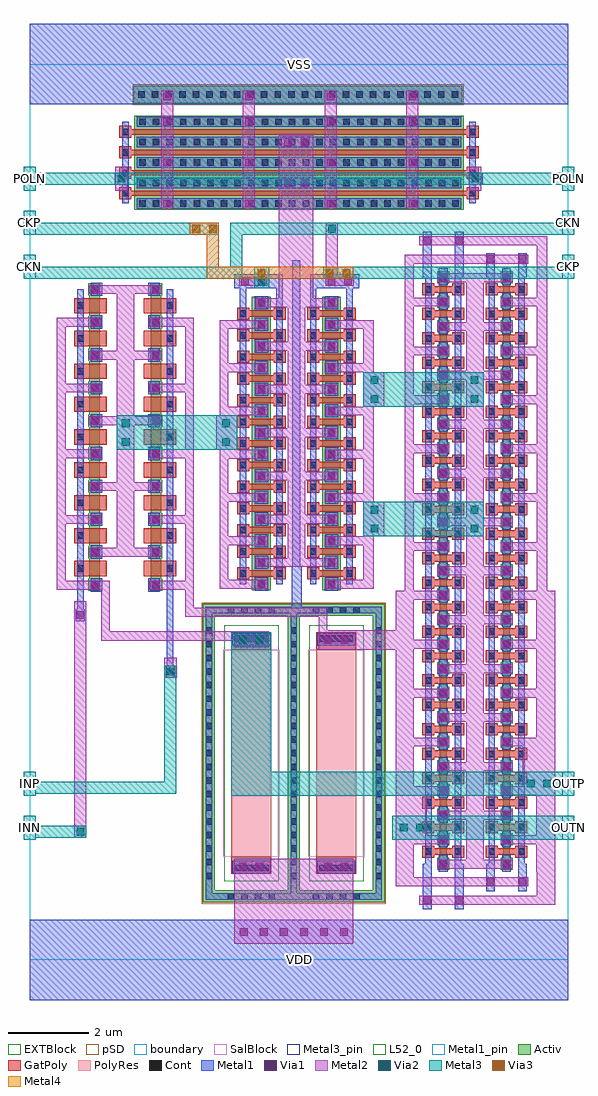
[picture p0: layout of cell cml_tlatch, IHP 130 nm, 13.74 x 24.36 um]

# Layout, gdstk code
from math import pi, radians
import gdstk
lib = gdstk.Library(unit=1e-6, precision=1e-09)
def R(c, l, rs):  # rectangles x0, y0, x1, y1
    for r in rs: c.add(gdstk.rectangle(r[:2], r[2:], *l))
def A(c, l, x, y, w, h, nx, ny, dx, dy):  # array of equal rectangles
    R(c, l, [(x+i*dx, y+j*dy, x+i*dx+w, y+j*dy+h) for i in range(nx) for j in range(ny)])
Activ = (1, 0)
GatPoly = (5, 0)
Cont = (6, 0)
Metal1 = (8, 0)
Metal1_pin = (8, 2)
Metal2 = (10, 0)
pSD = (14, 0)
Via1 = (19, 0)
SalBlock = (28, 0)
Via2 = (29, 0)
Metal3 = (30, 0)
Metal3_pin = (30, 2)
Via3 = (49, 0)
Metal4 = (50, 0)
L52_0 = (52, 0)
EXTBlock = (111, 0)
PolyRes = (128, 0)
boundary = (189, 4)

sg13_lv_nmos_ad63gd = lib.new_cell('sg13_lv_nmos_AD63GD')
A(sg13_lv_nmos_ad63gd, Activ, -3.84, -0.055, 0.3, 0.02, 10, 2, 0.82, 0.28)
R(sg13_lv_nmos_ad63gd, Activ, [(-3.84,-0.035,3.84,0.225)])
A(sg13_lv_nmos_ad63gd, GatPoly, -3.47, -0.405, 0.38, 0.81, 9, 1, 0.82, 0)
A(sg13_lv_nmos_ad63gd, Cont, -3.36, -0.335, 0.16, 0.16, 9, 1, 0.82, 0)
A(sg13_lv_nmos_ad63gd, Cont, -3.77, 0.015, 0.16, 0.16, 10, 1, 0.82, 0)
A(sg13_lv_nmos_ad63gd, Metal1, -3.82, 0.015, 0.26, 0.16, 10, 1, 0.82, 0)
R(sg13_lv_nmos_ad63gd, Metal1, [(-3.69,-0.335,3.69,-0.175)])
sg13_lv_nmos_ad63gd.add(gdstk.Label('G', (3.28,-0.255), layer=8, texttype=25))
sg13_lv_nmos_ad63gd.add(gdstk.Label('G', (2.46,-0.255), layer=8, texttype=25))
sg13_lv_nmos_ad63gd.add(gdstk.Label('G', (1.64,-0.255), layer=8, texttype=25))
sg13_lv_nmos_ad63gd.add(gdstk.Label('G', (0.82,-0.255), layer=8, texttype=25))
sg13_lv_nmos_ad63gd.add(gdstk.Label('G', (0,-0.255), layer=8, texttype=25))
sg13_lv_nmos_ad63gd.add(gdstk.Label('G', (-0.82,-0.255), layer=8, texttype=25))
sg13_lv_nmos_ad63gd.add(gdstk.Label('G', (-1.64,-0.255), layer=8, texttype=25))
sg13_lv_nmos_ad63gd.add(gdstk.Label('G', (-2.46,-0.255), layer=8, texttype=25))
sg13_lv_nmos_ad63gd.add(gdstk.Label('G', (-3.28,-0.255), layer=8, texttype=25))
sg13_lv_nmos_ad63gd.add(gdstk.Label('D0', (-3.69,0.095), layer=8, texttype=25))
sg13_lv_nmos_ad63gd.add(gdstk.Label('S1', (-2.87,0.095), layer=8, texttype=25))
sg13_lv_nmos_ad63gd.add(gdstk.Label('D2', (-2.05,0.095), layer=8, texttype=25))
sg13_lv_nmos_ad63gd.add(gdstk.Label('S3', (-1.23,0.095), layer=8, texttype=25))
sg13_lv_nmos_ad63gd.add(gdstk.Label('D4', (-0.41,0.095), layer=8, texttype=25))
sg13_lv_nmos_ad63gd.add(gdstk.Label('S5', (0.41,0.095), layer=8, texttype=25))
sg13_lv_nmos_ad63gd.add(gdstk.Label('D6', (1.23,0.095), layer=8, texttype=25))
sg13_lv_nmos_ad63gd.add(gdstk.Label('S7', (2.05,0.095), layer=8, texttype=25))
sg13_lv_nmos_ad63gd.add(gdstk.Label('D8', (2.87,0.095), layer=8, texttype=25))
sg13_lv_nmos_ad63gd.add(gdstk.Label('S8', (3.69,0.095), layer=8, texttype=25))

rppd_6k5nnh = lib.new_cell('rppd_6K5NNH')
R(rppd_6k5nnh, Activ, [(-1.21,-3.725,1.21,-3.425), (-1.21,-3.425,-0.91,3.425), (0.91,-3.425,1.21,3.425), (-1.21,3.425,1.21,3.725)])
R(rppd_6k5nnh, GatPoly, [(-0.5,-3.015,0.5,-2.585), (-0.5,2.585,0.5,3.015)])
A(rppd_6k5nnh, Cont, -0.59, -3.655, 0.16, 0.16, 4, 2, 0.34, 7.15)
A(rppd_6k5nnh, Cont, -1.14, -3.14, 0.16, 0.16, 1, 19, 0, 0.34)
A(rppd_6k5nnh, Cont, 0.98, -3.14, 0.16, 0.16, 1, 19, 0, 0.34)
R(rppd_6k5nnh, Cont, [(-0.43,-2.945,0.43,-2.785), (-0.43,2.785,0.43,2.945)])
R(rppd_6k5nnh, Metal1, [(-1.14,-3.655,1.14,-3.495), (-1.14,-3.495,-0.98,3.495), (0.98,-3.495,1.14,3.495), (-0.48,-2.995,0.48,-2.68), (-0.48,2.68,0.48,2.995), (-1.14,3.495,1.14,3.655)])
R(rppd_6k5nnh, Metal2, [(-0.43,-3.01,0.43,-2.64), (-0.43,2.64,0.43,3.01)])
R(rppd_6k5nnh, pSD, [(-1.24,-3.755,1.24,3.755)])
R(rppd_6k5nnh, Via1, [(-0.3,-2.92,-0.11,-2.73), (0.11,-2.92,0.3,-2.73), (-0.3,2.73,-0.11,2.92), (0.11,2.73,0.3,2.92)])
R(rppd_6k5nnh, SalBlock, [(-0.7,-2.585,0.7,2.585)])
R(rppd_6k5nnh, L52_0, [(-0.5,-2.585,0.5,2.585)])
R(rppd_6k5nnh, EXTBlock, [(-0.68,-3.195,0.68,3.195)])
R(rppd_6k5nnh, PolyRes, [(-0.5,-2.585,0.5,2.585)])
R(rppd_6k5nnh, boundary, [(-1.06,-3.575,1.06,3.575)])
rppd_6k5nnh.add(gdstk.Label('B', (0,-3.575), layer=8, texttype=25))
rppd_6k5nnh.add(gdstk.Label('R1', (0,2.865), layer=8, texttype=25))
rppd_6k5nnh.add(gdstk.Label('R2', (0,-2.865), layer=8, texttype=25))

sg13_lv_nmos_kukxb4 = lib.new_cell('sg13_lv_nmos_KUKXB4')
A(sg13_lv_nmos_kukxb4, Activ, -7.47, -0.15, 0.3, 0.065, 25, 2, 0.61, 0.235)
R(sg13_lv_nmos_kukxb4, Activ, [(-7.47,-0.085,7.47,0.085)])
A(sg13_lv_nmos_kukxb4, GatPoly, -7.165, -0.52, 0.3, 0.3, 24, 2, 0.61, 0.74)
A(sg13_lv_nmos_kukxb4, GatPoly, -7.1, -0.22, 0.17, 0.44, 24, 1, 0.61, 0)
A(sg13_lv_nmos_kukxb4, Cont, -7.095, -0.45, 0.16, 0.16, 24, 2, 0.61, 0.74)
A(sg13_lv_nmos_kukxb4, Cont, -7.4, -0.08, 0.16, 0.16, 25, 1, 0.61, 0)
A(sg13_lv_nmos_kukxb4, Metal1, -7.45, -0.08, 0.26, 0.16, 25, 1, 0.61, 0)
R(sg13_lv_nmos_kukxb4, Metal1, [(-7.32,-0.45,7.32,-0.29), (-7.32,0.29,7.32,0.45)])
sg13_lv_nmos_kukxb4.add(gdstk.Label('G', (7.015,0.37), layer=8, texttype=25))
sg13_lv_nmos_kukxb4.add(gdstk.Label('G', (6.405,0.37), layer=8, texttype=25))
sg13_lv_nmos_kukxb4.add(gdstk.Label('G', (5.795,0.37), layer=8, texttype=25))
sg13_lv_nmos_kukxb4.add(gdstk.Label('G', (5.185,0.37), layer=8, texttype=25))
sg13_lv_nmos_kukxb4.add(gdstk.Label('G', (4.575,0.37), layer=8, texttype=25))
sg13_lv_nmos_kukxb4.add(gdstk.Label('G', (3.965,0.37), layer=8, texttype=25))
sg13_lv_nmos_kukxb4.add(gdstk.Label('G', (3.355,0.37), layer=8, texttype=25))
sg13_lv_nmos_kukxb4.add(gdstk.Label('G', (2.745,0.37), layer=8, texttype=25))
sg13_lv_nmos_kukxb4.add(gdstk.Label('G', (2.135,0.37), layer=8, texttype=25))
sg13_lv_nmos_kukxb4.add(gdstk.Label('G', (1.525,0.37), layer=8, texttype=25))
sg13_lv_nmos_kukxb4.add(gdstk.Label('G', (0.915,0.37), layer=8, texttype=25))
sg13_lv_nmos_kukxb4.add(gdstk.Label('G', (0.305,0.37), layer=8, texttype=25))
sg13_lv_nmos_kukxb4.add(gdstk.Label('G', (-0.305,0.37), layer=8, texttype=25))
sg13_lv_nmos_kukxb4.add(gdstk.Label('G', (-0.915,0.37), layer=8, texttype=25))
sg13_lv_nmos_kukxb4.add(gdstk.Label('G', (-1.525,0.37), layer=8, texttype=25))
sg13_lv_nmos_kukxb4.add(gdstk.Label('G', (-2.135,0.37), layer=8, texttype=25))
sg13_lv_nmos_kukxb4.add(gdstk.Label('G', (-2.745,0.37), layer=8, texttype=25))
sg13_lv_nmos_kukxb4.add(gdstk.Label('G', (-3.355,0.37), layer=8, texttype=25))
sg13_lv_nmos_kukxb4.add(gdstk.Label('G', (-3.965,0.37), layer=8, texttype=25))
sg13_lv_nmos_kukxb4.add(gdstk.Label('G', (-4.575,0.37), layer=8, texttype=25))
sg13_lv_nmos_kukxb4.add(gdstk.Label('G', (-5.185,0.37), layer=8, texttype=25))
sg13_lv_nmos_kukxb4.add(gdstk.Label('G', (-5.795,0.37), layer=8, texttype=25))
sg13_lv_nmos_kukxb4.add(gdstk.Label('G', (-6.405,0.37), layer=8, texttype=25))
sg13_lv_nmos_kukxb4.add(gdstk.Label('G', (-7.015,0.37), layer=8, texttype=25))
sg13_lv_nmos_kukxb4.add(gdstk.Label('D0', (-7.32,0), layer=8, texttype=25))
sg13_lv_nmos_kukxb4.add(gdstk.Label('S1', (-6.71,0), layer=8, texttype=25))
sg13_lv_nmos_kukxb4.add(gdstk.Label('D2', (-6.1,0), layer=8, texttype=25))
sg13_lv_nmos_kukxb4.add(gdstk.Label('S3', (-5.49,0), layer=8, texttype=25))
sg13_lv_nmos_kukxb4.add(gdstk.Label('D4', (-4.88,0), layer=8, texttype=25))
sg13_lv_nmos_kukxb4.add(gdstk.Label('S5', (-4.27,0), layer=8, texttype=25))
sg13_lv_nmos_kukxb4.add(gdstk.Label('D6', (-3.66,0), layer=8, texttype=25))
sg13_lv_nmos_kukxb4.add(gdstk.Label('S7', (-3.05,0), layer=8, texttype=25))
sg13_lv_nmos_kukxb4.add(gdstk.Label('D8', (-2.44,0), layer=8, texttype=25))
sg13_lv_nmos_kukxb4.add(gdstk.Label('S9', (-1.83,0), layer=8, texttype=25))
sg13_lv_nmos_kukxb4.add(gdstk.Label('D10', (-1.22,0), layer=8, texttype=25))
sg13_lv_nmos_kukxb4.add(gdstk.Label('S11', (-0.61,0), layer=8, texttype=25))
sg13_lv_nmos_kukxb4.add(gdstk.Label('D12', (0,0), layer=8, texttype=25))
sg13_lv_nmos_kukxb4.add(gdstk.Label('S13', (0.61,0), layer=8, texttype=25))
sg13_lv_nmos_kukxb4.add(gdstk.Label('D14', (1.22,0), layer=8, texttype=25))
sg13_lv_nmos_kukxb4.add(gdstk.Label('S15', (1.83,0), layer=8, texttype=25))
sg13_lv_nmos_kukxb4.add(gdstk.Label('D16', (2.44,0), layer=8, texttype=25))
sg13_lv_nmos_kukxb4.add(gdstk.Label('S17', (3.05,0), layer=8, texttype=25))
sg13_lv_nmos_kukxb4.add(gdstk.Label('D18', (3.66,0), layer=8, texttype=25))
sg13_lv_nmos_kukxb4.add(gdstk.Label('S19', (4.27,0), layer=8, texttype=25))
sg13_lv_nmos_kukxb4.add(gdstk.Label('D20', (4.88,0), layer=8, texttype=25))
sg13_lv_nmos_kukxb4.add(gdstk.Label('S21', (5.49,0), layer=8, texttype=25))
sg13_lv_nmos_kukxb4.add(gdstk.Label('D22', (6.1,0), layer=8, texttype=25))
sg13_lv_nmos_kukxb4.add(gdstk.Label('S23', (6.71,0), layer=8, texttype=25))

sg13_lv_nmos_72nhqf = lib.new_cell('sg13_lv_nmos_72NHQF')
R(sg13_lv_nmos_72nhqf, Activ, [(-3.66,-0.235,3.66,0.235)])
A(sg13_lv_nmos_72nhqf, GatPoly, -3.39, -0.605, 0.3, 0.3, 13, 2, 0.54, 0.91)
A(sg13_lv_nmos_72nhqf, GatPoly, -3.32, -0.305, 0.16, 0.61, 13, 1, 0.54, 0)
A(sg13_lv_nmos_72nhqf, Cont, -3.32, -0.535, 0.16, 0.16, 13, 2, 0.54, 0.91)
A(sg13_lv_nmos_72nhqf, Cont, -3.59, -0.08, 0.16, 0.16, 14, 1, 0.54, 0)
A(sg13_lv_nmos_72nhqf, Metal1, -3.64, -0.165, 0.26, 0.33, 14, 1, 0.54, 0)
R(sg13_lv_nmos_72nhqf, Metal1, [(-3.51,-0.535,3.51,-0.375), (-3.51,0.375,3.51,0.535)])
sg13_lv_nmos_72nhqf.add(gdstk.Label('G', (3.24,0.455), layer=8, texttype=25))
sg13_lv_nmos_72nhqf.add(gdstk.Label('G', (2.7,0.455), layer=8, texttype=25))
sg13_lv_nmos_72nhqf.add(gdstk.Label('G', (2.16,0.455), layer=8, texttype=25))
sg13_lv_nmos_72nhqf.add(gdstk.Label('G', (1.62,0.455), layer=8, texttype=25))
sg13_lv_nmos_72nhqf.add(gdstk.Label('G', (1.08,0.455), layer=8, texttype=25))
sg13_lv_nmos_72nhqf.add(gdstk.Label('G', (0.54,0.455), layer=8, texttype=25))
sg13_lv_nmos_72nhqf.add(gdstk.Label('G', (0,0.455), layer=8, texttype=25))
sg13_lv_nmos_72nhqf.add(gdstk.Label('G', (-0.54,0.455), layer=8, texttype=25))
sg13_lv_nmos_72nhqf.add(gdstk.Label('G', (-1.08,0.455), layer=8, texttype=25))
sg13_lv_nmos_72nhqf.add(gdstk.Label('G', (-1.62,0.455), layer=8, texttype=25))
sg13_lv_nmos_72nhqf.add(gdstk.Label('G', (-2.16,0.455), layer=8, texttype=25))
sg13_lv_nmos_72nhqf.add(gdstk.Label('G', (-2.7,0.455), layer=8, texttype=25))
sg13_lv_nmos_72nhqf.add(gdstk.Label('G', (-3.24,0.455), layer=8, texttype=25))
sg13_lv_nmos_72nhqf.add(gdstk.Label('D0', (-3.51,0), layer=8, texttype=25))
sg13_lv_nmos_72nhqf.add(gdstk.Label('S1', (-2.97,0), layer=8, texttype=25))
sg13_lv_nmos_72nhqf.add(gdstk.Label('D2', (-2.43,0), layer=8, texttype=25))
sg13_lv_nmos_72nhqf.add(gdstk.Label('S3', (-1.89,0), layer=8, texttype=25))
sg13_lv_nmos_72nhqf.add(gdstk.Label('D4', (-1.35,0), layer=8, texttype=25))
sg13_lv_nmos_72nhqf.add(gdstk.Label('S5', (-0.81,0), layer=8, texttype=25))
sg13_lv_nmos_72nhqf.add(gdstk.Label('D6', (-0.27,0), layer=8, texttype=25))
sg13_lv_nmos_72nhqf.add(gdstk.Label('S7', (0.27,0), layer=8, texttype=25))
sg13_lv_nmos_72nhqf.add(gdstk.Label('D8', (0.81,0), layer=8, texttype=25))
sg13_lv_nmos_72nhqf.add(gdstk.Label('S9', (1.35,0), layer=8, texttype=25))
sg13_lv_nmos_72nhqf.add(gdstk.Label('D10', (1.89,0), layer=8, texttype=25))
sg13_lv_nmos_72nhqf.add(gdstk.Label('S11', (2.43,0), layer=8, texttype=25))
sg13_lv_nmos_72nhqf.add(gdstk.Label('D12', (2.97,0), layer=8, texttype=25))
sg13_lv_nmos_72nhqf.add(gdstk.Label('S12', (3.51,0), layer=8, texttype=25))

sg13_lv_nmos_98sv2z = lib.new_cell('sg13_lv_nmos_98SV2Z')
R(sg13_lv_nmos_98sv2z, Activ, [(-1.17,-4.115,1.17,4.115)])
A(sg13_lv_nmos_98sv2z, GatPoly, -0.915, -4.485, 0.3, 0.3, 4, 2, 0.51, 8.67)
A(sg13_lv_nmos_98sv2z, GatPoly, -0.83, -4.185, 0.13, 8.37, 4, 1, 0.51, 0)
A(sg13_lv_nmos_98sv2z, Cont, -0.845, -4.415, 0.16, 0.16, 4, 2, 0.51, 8.67)
A(sg13_lv_nmos_98sv2z, Cont, -1.1, -3.99, 0.16, 0.16, 5, 24, 0.51, 0.34)
A(sg13_lv_nmos_98sv2z, Metal1, -1.15, -4.045, 0.26, 8.09, 5, 1, 0.51, 0)
R(sg13_lv_nmos_98sv2z, Metal1, [(-1.02,-4.415,1.02,-4.255), (-1.02,4.255,1.02,4.415)])
sg13_lv_nmos_98sv2z.add(gdstk.Label('D0', (-1.02,0), layer=8, texttype=25))
sg13_lv_nmos_98sv2z.add(gdstk.Label('G', (0.765,4.335), layer=8, texttype=25))
sg13_lv_nmos_98sv2z.add(gdstk.Label('G', (0.255,4.335), layer=8, texttype=25))
sg13_lv_nmos_98sv2z.add(gdstk.Label('G', (-0.255,4.335), layer=8, texttype=25))
sg13_lv_nmos_98sv2z.add(gdstk.Label('G', (-0.765,4.335), layer=8, texttype=25))
sg13_lv_nmos_98sv2z.add(gdstk.Label('S1', (-0.51,0), layer=8, texttype=25))
sg13_lv_nmos_98sv2z.add(gdstk.Label('D2', (0,0), layer=8, texttype=25))
sg13_lv_nmos_98sv2z.add(gdstk.Label('S3', (0.51,0), layer=8, texttype=25))

cml_tlatch = lib.new_cell('cml_tlatch')
R(cml_tlatch, Activ, [(12.2,21.38,20.4,21.82)])
A(cml_tlatch, Cont, 12.31, 21.52, 0.16, 0.16, 24, 1, 0.34, 0)
A(cml_tlatch, Metal1, 19.81, 2.2, 0.22, 0.42, 1, 25, 0, 0.61)
A(cml_tlatch, Metal1, 21.39, 2.2, 0.22, 0.42, 1, 25, 0, 0.61)
A(cml_tlatch, Metal1, 11.125, 9.195, 0.29, 0.33, 1, 10, 0, 0.82)
A(cml_tlatch, Metal1, 12.555, 9.195, 0.29, 0.33, 1, 10, 0, 0.82)
A(cml_tlatch, Metal1, 15.22, 9.22, 0.33, 0.33, 1, 14, 0, 0.54)
A(cml_tlatch, Metal1, 16.97, 9.22, 0.33, 0.33, 1, 14, 0, 0.54)
A(cml_tlatch, Metal1, 12.93, 18.78, 0.2, 0.2, 4, 3, 2.04, 1.02)
R(cml_tlatch, Metal1, [(9.6,-1,23.04,1), (19.41,1.26,19.63,2.4), (20.21,1.26,20.43,2.4), (20.99,1.72,21.21,2.4), (21.79,1.72,22.01,2.4), (12.995,7.045,13.225,7.345), (13.025,7.345,13.185,9.36), (10.745,8.455,10.975,8.755), (10.785,8.755,10.945,9.405), (16.135,8.815,16.385,9.81), (16.155,9.81,16.355,17.46), (14.845,16.4,15.005,16.76), (15.755,16.4,15.915,16.76), (16.595,16.4,16.755,16.76), (17.505,16.4,17.665,16.76), (14.7,16.76,15.915,17.12), (16.595,16.76,17.82,17.12), (19.41,17.04,19.63,18.18), (20.21,17.04,20.43,18.18), (20.99,17.04,21.21,17.635), (21.79,17.04,22.01,17.635), (15.9,19.29,16.6,19.49), (11.72,19.35,12.065,19.65), (20.555,19.35,20.9,19.65), (15.9,20.31,16.6,20.51), (9.6,21.36,23.04,23.36)])
R(cml_tlatch, Metal1_pin, [(9.6,-1,23.04,1), (9.6,21.36,23.04,23.36)])
A(cml_tlatch, Metal2, 19.77, 2.28, 1.88, 0.22, 1, 13, 0, 1.22)
A(cml_tlatch, Metal2, 20.49, 2.5, 0.44, 1, 1, 12, 0, 1.22)
A(cml_tlatch, Metal2, 18.74, 2.89, 1.33, 0.22, 1, 4, 0, 1.22)
A(cml_tlatch, Metal2, 21.35, 2.89, 1.365, 0.22, 1, 6, 0, 1.22)
A(cml_tlatch, Metal2, 22.24, 5.55, 0.475, 1, 1, 3, 0, 1.22)
A(cml_tlatch, Metal2, 18.96, 9.21, 0.22, 1, 1, 6, 0, 1.22)
A(cml_tlatch, Metal2, 22.26, 9.21, 0.25, 1, 1, 6, 0, 1.22)
A(cml_tlatch, Metal2, 12.585, 9.245, 1.11, 0.22, 1, 5, 0, 1.64)
A(cml_tlatch, Metal2, 14.34, 9.27, 1.2, 0.22, 1, 7, 0, 1.08)
A(cml_tlatch, Metal2, 16.99, 9.27, 1.19, 0.22, 1, 7, 0, 1.08)
A(cml_tlatch, Metal2, 10.275, 9.465, 0.22, 1.42, 1, 4, 0, 1.64)
A(cml_tlatch, Metal2, 13.475, 9.465, 0.22, 1.42, 1, 4, 0, 1.64)
A(cml_tlatch, Metal2, 14.34, 9.49, 0.22, 0.86, 1, 3, 0, 1.08)
A(cml_tlatch, Metal2, 15.24, 9.81, 2.05, 0.22, 1, 7, 0, 1.08)
A(cml_tlatch, Metal2, 16.04, 10.03, 0.44, 0.86, 1, 6, 0, 1.08)
A(cml_tlatch, Metal2, 11.085, 10.065, 1.8, 0.22, 1, 5, 0, 1.64)
A(cml_tlatch, Metal2, 18.96, 10.21, 1.11, 0.22, 1, 6, 0, 1.22)
A(cml_tlatch, Metal2, 21.35, 10.21, 1.16, 0.22, 1, 6, 0, 1.22)
A(cml_tlatch, Metal2, 11.765, 10.285, 0.44, 1.42, 1, 4, 0, 1.64)
A(cml_tlatch, Metal2, 10.275, 10.885, 1.11, 0.22, 1, 4, 0, 1.64)
A(cml_tlatch, Metal2, 12.88, 18.75, 0.3, 2.95, 4, 1, 2.04, 0)
R(cml_tlatch, Metal2, [(14.7,0.4,17.68,2.52), (19.32,1.38,22.715,1.6), (22.26,1.6,22.715,2.2), (18.74,1.84,22.045,2.06), (18.74,2.06,19.18,2.89), (22.24,2.2,22.715,2.89), (10.705,3.05,11.015,8.955), (18.74,3.11,19.51,4.11), (22.24,3.11,22.715,4.11), (18.74,4.33,19.18,5.33), (21.9,4.33,22.715,5.33), (18.74,5.55,19.18,6.55), (18.74,6.77,19.18,7.745), (12.955,7.045,13.265,7.545), (16.81,7.745,19.18,7.77), (16.81,7.77,20.07,7.99), (14.825,7.885,15.435,7.97), (11.38,7.97,15.56,8.2), (16.81,7.99,19.18,8.23), (11.38,8.2,11.6,9.245), (16.81,8.23,17.03,8.56), (18.74,8.23,19.18,8.99), (13.475,8.56,17.03,8.79), (13.475,8.79,13.695,9.245), (18.74,8.99,20.07,9.21), (10.275,9.245,11.6,9.465), (17.92,9.49,18.18,10.35), (17.92,10.57,18.45,11.43), (17.92,11.65,18.18,12.51), (14.25,12.73,14.78,13.59), (17.92,12.73,18.18,13.59), (14.34,13.81,14.56,14.67), (17.92,13.81,18.45,14.67), (14.34,14.89,14.56,15.75), (17.92,14.89,18.18,15.75), (15.82,16.51,16.68,20.6), (18.96,16.53,19.18,17.38), (22.26,16.53,22.51,17.84), (14.83,16.83,15.53,17.05), (16.99,16.83,17.69,17.05), (16.99,17.05,17.29,18.4), (18.96,17.38,22.045,17.6), (19.32,17.84,22.51,18.06), (11.74,19.2,12.04,19.8), (20.575,19.2,20.875,19.8)])
R(cml_tlatch, pSD, [(12.17,21.35,20.43,21.85)])
A(cml_tlatch, Via1, 14.845, 0.6, 0.19, 0.19, 6, 1, 0.5, 0)
A(cml_tlatch, Via1, 19.825, 2.295, 0.19, 0.19, 1, 25, 0, 0.61)
A(cml_tlatch, Via1, 21.405, 2.295, 0.19, 0.19, 1, 25, 0, 0.61)
A(cml_tlatch, Via1, 11.14, 9.26, 0.19, 0.19, 1, 10, 0, 0.82)
A(cml_tlatch, Via1, 12.64, 9.26, 0.19, 0.19, 1, 10, 0, 0.82)
A(cml_tlatch, Via1, 15.29, 9.285, 0.19, 0.19, 1, 15, 0, 0.54)
A(cml_tlatch, Via1, 17.04, 9.285, 0.19, 0.19, 1, 15, 0, 0.54)
A(cml_tlatch, Via1, 12.935, 18.785, 0.19, 0.19, 4, 3, 2.04, 1.02)
A(cml_tlatch, Via1, 12.935, 21.455, 0.19, 0.19, 4, 1, 2.04, 0)
R(cml_tlatch, Via1, [(19.425,1.395,19.615,1.585), (20.225,1.395,20.415,1.585), (21.005,1.855,21.195,2.045), (21.805,1.855,21.995,2.045), (13.01,7.1,13.2,7.29), (10.77,8.51,10.96,8.7), (14.88,16.845,15.07,17.035), (17.45,16.845,17.64,17.035), (21.005,17.395,21.195,17.585), (21.805,17.395,21.995,17.585), (19.425,17.855,19.615,18.045), (20.225,17.855,20.415,18.045), (15.95,19.295,16.14,19.485), (16.36,19.295,16.55,19.485), (11.795,19.405,11.985,19.595), (20.63,19.405,20.82,19.595), (15.95,20.315,16.14,20.505), (16.36,20.315,16.55,20.505)])
R(cml_tlatch, Via2, [(10.77,3.105,10.96,3.295), (18.84,3.21,19.03,3.4), (19.25,3.21,19.44,3.4), (22.01,4.31,22.2,4.5), (22.42,4.31,22.61,4.5), (13.01,7.1,13.2,7.29), (14.83,7.89,15.02,8.08), (15.24,7.89,15.43,8.08), (18.11,10.67,18.3,10.86), (20.61,10.67,20.8,10.86), (18.11,11.14,18.3,11.33), (20.61,11.14,20.8,11.33), (11.9,12.83,12.09,13.02), (14.4,12.83,14.59,13.02), (11.9,13.3,12.09,13.49), (14.4,13.3,14.59,13.49), (18.11,13.91,18.3,14.1), (20.61,13.91,20.8,14.1), (18.11,14.38,18.3,14.57), (20.61,14.38,20.8,14.57), (15.29,16.845,15.48,17.035), (17.045,18.155,17.235,18.345), (11.795,19.405,11.985,19.595), (20.63,19.405,20.82,19.595)])
R(cml_tlatch, Metal3, [(9.45,3,9.75,3.05), (18.65,3,23.19,3.6), (9.45,3.05,11.015,3.35), (9.45,3.35,9.75,3.6), (9.45,4.1,9.75,4.15), (14.63,4.1,23.19,4.7), (9.45,4.15,13.26,4.45), (9.45,4.45,9.75,4.7), (12.96,4.45,13.26,7.345), (14.63,4.7,15.63,8.175), (17.92,10.57,20.93,11.43), (11.77,12.73,14.78,13.59), (17.92,13.81,20.93,14.67), (15.2,16.76,15.58,17.3), (9.45,17,14.9,17.3), (16.92,17,23.19,17.3), (9.45,17.3,9.75,17.6), (14.6,17.3,14.9,18.1), (22.89,17.3,23.19,17.6), (9.45,18.1,14.32,18.4), (14.6,18.1,23.19,18.4), (9.45,18.4,9.75,18.7), (22.89,18.4,23.19,18.7), (9.45,19.2,9.75,19.35), (22.89,19.2,23.19,19.35), (9.45,19.35,23.19,19.65), (9.45,19.65,9.75,19.8), (22.89,19.65,23.19,19.8)])
A(cml_tlatch, Metal3_pin, 9.45, 17, 0.3, 0.6, 1, 3, 0, 1.1)
A(cml_tlatch, Metal3_pin, 22.89, 17, 0.3, 0.6, 1, 3, 0, 1.1)
R(cml_tlatch, Metal3_pin, [(9.45,3,9.75,3.6), (22.89,3,23.19,3.6), (9.45,4.1,9.75,4.7), (22.89,4.1,23.19,4.7)])
R(cml_tlatch, Via3, [(15.29,17.055,15.48,17.245), (16.99,17.055,17.18,17.245), (17.41,17.055,17.6,17.245), (13.66,18.155,13.85,18.345), (14.075,18.155,14.265,18.345)])
R(cml_tlatch, Metal4, [(14.02,17,17.67,17.3), (14.02,17.3,14.32,18.1), (13.59,18.1,14.32,18.4)])
R(cml_tlatch, boundary, [(9.6,0,23.04,22.36)])
cml_tlatch.add(gdstk.Reference(sg13_lv_nmos_ad63gd, (11.12,13.05), rotation=3*pi/2))
cml_tlatch.add(gdstk.Reference(sg13_lv_nmos_ad63gd, (12.85,13.05), rotation=3*pi/2, x_reflection=True))
cml_tlatch.add(gdstk.Reference(rppd_6k5nnh, (17.25,5.16), rotation=pi))
cml_tlatch.add(gdstk.Reference(rppd_6k5nnh, (15.13,5.16), rotation=pi))
cml_tlatch.add(gdstk.Reference(sg13_lv_nmos_kukxb4, (19.92,9.72), rotation=3*pi/2))
cml_tlatch.add(gdstk.Reference(sg13_lv_nmos_kukxb4, (21.5,9.72), rotation=3*pi/2, x_reflection=True))
cml_tlatch.add(gdstk.Reference(sg13_lv_nmos_72nhqf, (15.38,12.89), rotation=3*pi/2))
cml_tlatch.add(gdstk.Reference(sg13_lv_nmos_72nhqf, (17.13,12.89), rotation=3*pi/2, x_reflection=True))
cml_tlatch.add(gdstk.Reference(sg13_lv_nmos_98sv2z, (16.32,19.9), rotation=3*pi/2))
cml_tlatch.add(gdstk.Label('VDD', (16.32,0), layer=8, texttype=25))
cml_tlatch.add(gdstk.Label('VSS', (16.32,22.36), layer=8, texttype=25))
cml_tlatch.add(gdstk.Label('OUTN', (23.04,3.3), layer=30, texttype=25))
cml_tlatch.add(gdstk.Label('OUTP', (23.04,4.4), layer=30, texttype=25))
cml_tlatch.add(gdstk.Label('CKN', (9.6,17.3), layer=30, texttype=25))
cml_tlatch.add(gdstk.Label('CKN', (23.04,18.4), layer=30, texttype=25))
cml_tlatch.add(gdstk.Label('CKP', (9.6,18.4), layer=30, texttype=25))
cml_tlatch.add(gdstk.Label('CKP', (23.04,17.3), layer=30, texttype=25))
cml_tlatch.add(gdstk.Label('INP', (9.6,4.4), layer=30, texttype=25))
cml_tlatch.add(gdstk.Label('INN', (9.6,3.3), layer=30, texttype=25))
cml_tlatch.add(gdstk.Label('POLN', (9.6,19.5), layer=30, texttype=25))
cml_tlatch.add(gdstk.Label('POLN', (23.04,19.5), layer=30, texttype=25))

lib.write_gds('cml_tlatch.gds')
